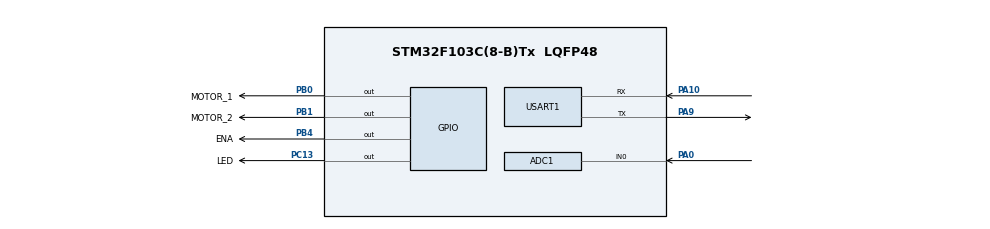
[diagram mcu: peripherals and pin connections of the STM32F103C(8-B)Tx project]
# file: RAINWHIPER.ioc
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ADC1.Channel-0\#ChannelRegularConversion=ADC_CHANNEL_0
ADC1.NbrOfConversionFlag=1
ADC1.Rank-0\#ChannelRegularConversion=1
ADC1.SamplingTime-0\#ChannelRegularConversion=ADC_SAMPLETIME_1CYCLE_5
ADC1.master=1
Mcu.Family=STM32F1
Mcu.Name=STM32F103C(8-B)Tx
Mcu.Package=LQFP48
NVIC.PriorityGroup=NVIC_PRIORITYGROUP_4
PA0-WKUP.Signal=ADCx_IN0
PA10.Mode=Asynchronous
PA10.Signal=USART1_RX
PA9.Mode=Asynchronous
PA9.Signal=USART1_TX
PB0.GPIO_Label=MOTOR_1
PB0.Signal=GPIO_Output
PB1.GPIO_Label=MOTOR_2
PB1.Signal=GPIO_Output
PB4.GPIO_Label=ENA
PB4.Signal=GPIO_Output
PC13-TAMPER-RTC.GPIO_Label=LED
PC13-TAMPER-RTC.Signal=GPIO_Output
ProjectManager.HeapSize=0x200
ProjectManager.StackSize=0x400
ProjectManager.TargetToolchain=STM32CubeIDE
RCC.APB1Freq_Value=8000000
RCC.APB2Freq_Value=8000000
SH.ADCx_IN0.0=ADC1_IN0,IN0
USART1.VirtualMode=VM_ASYNC
board=custom

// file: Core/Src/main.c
/* USER CODE BEGIN Header */
/**
  ******************************************************************************
  * @file           : main.c
  * @brief          : Main program body
  ******************************************************************************
  * @attention
  *
  * Copyright (c) 2025 STMicroelectronics.
  * All rights reserved.
  *
  * This software is licensed under terms that can be found in the LICENSE file
  * in the root directory of this software component.
  * If no LICENSE file comes with this software, it is provided AS-IS.
  *
  ******************************************************************************
  */
/* USER CODE END Header */
#include "main.h"

ADC_HandleTypeDef hadc1;

UART_HandleTypeDef huart1;

void SystemClock_Config(void);
static void MX_GPIO_Init(void);
static void MX_USART1_UART_Init(void);
static void MX_ADC1_Init(void);

int main(void)
{
  /* USER CODE BEGIN 1 */
	uint8_t var[] = "ADAPATIVE WINDSHIELD WIPER SYSTEM\r\n";
	uint8_t msg1[]="\nNO RAIN\r\n";
	uint8_t msg2[]="\nRAIN START\n";
	uint8_t msg3[]="\nRAIN INTENSITY IS LOW";
	uint8_t msg4[]="\nRAIN INTENSITY IS MODERATE";
	uint8_t msg5[]="\nRAIN INTENSITY IS HIGH";
	uint8_t msg1_sent=0;
	uint8_t msg2_sent=0;
	uint8_t msg3_sent=0;
	uint8_t msg4_sent=0;
	uint8_t msg5_sent=0;
	uint16_t ADC_Value=1000;
  /* USER CODE END 1 */

  /* MCU Configuration--------------------------------------------------------*/

  /* Reset of all peripherals, Initializes the Flash interface and the Systick. */
  HAL_Init();

  /* USER CODE BEGIN Init */
 void Move_forward(){
	 HAL_GPIO_WritePin(GPIOB,ENA_Pin,1);

	 	  HAL_GPIO_WritePin(GPIOB,MOTOR_1_Pin,1);
	 	  HAL_GPIO_WritePin(GPIOB,MOTOR_2_Pin,0);

 }
 void Move_backward(){
	 HAL_GPIO_WritePin(GPIOB,ENA_Pin,1);

	 	  HAL_GPIO_WritePin(GPIOB,MOTOR_1_Pin,0);
	 	  HAL_GPIO_WritePin(GPIOB,MOTOR_2_Pin,1);

 }

  /* USER CODE END Init */

  /* Configure the system clock */
  SystemClock_Config();

  /* Initialize all configured peripherals */
  MX_GPIO_Init();
  MX_USART1_UART_Init();
  MX_ADC1_Init();

  /* Infinite loop */
  /* USER CODE BEGIN WHILE */
  HAL_UART_Transmit(&huart1, var, strlen((char *)var), 100);
  while (1)
  {

    /* USER CODE END WHILE */

    /* USER CODE BEGIN 3 */
  if (ADC_Value < 10 && msg1_sent == 0) {
      HAL_UART_Transmit(&huart1, msg1, strlen((char *)msg1), 100);
      msg1_sent = 1;
      msg2_sent = msg3_sent = msg4_sent = msg5_sent = 0; // Reset other flags
  }
  else if (ADC_Value >= 10 && ADC_Value < 1000 && msg2_sent == 0) {
      HAL_UART_Transmit(&huart1, msg2, strlen((char *)msg2), 100);
      msg2_sent = 1;
      msg1_sent = msg3_sent = msg4_sent = msg5_sent = 0;

  }
  else if (ADC_Value >= 1000 && ADC_Value <= 2000 && msg3_sent == 0) {
      HAL_UART_Transmit(&huart1, msg3, strlen((char *)msg3), 100);
      msg3_sent = 1;
      msg1_sent = msg2_sent = msg4_sent = msg5_sent = 0;

  }
  else if (ADC_Value > 2000 && ADC_Value <= 3000 && msg4_sent == 0) {
      HAL_UART_Transmit(&huart1, msg4, strlen((char *)msg4), 100);
      msg4_sent = 1;
      msg1_sent = msg2_sent = msg3_sent = msg5_sent = 0;

  }
  else if (ADC_Value > 3000 && msg5_sent == 0) {
      HAL_UART_Transmit(&huart1, msg5, strlen((char *)msg5), 100);
      msg5_sent = 1;
      msg1_sent = msg2_sent = msg3_sent = msg4_sent = 0;

  }

  // LED should keep blinking infinitely
  HAL_GPIO_TogglePin(GPIOC, LED_Pin);

  // Adjust delay based on ADC value range
  if (ADC_Value < 10) {
      HAL_Delay(1000);  // Slow blink
  } else if (ADC_Value >= 10 && ADC_Value < 1000) {
            HAL_Delay(700);
            Move_forward();
            HAL_Delay(1000);
            Move_backward();
            HAL_Delay(1000);
  } else if (ADC_Value >= 1000 && ADC_Value <= 2000) {
               HAL_Delay(500);
               Move_forward();
               HAL_Delay(500);
               Move_backward();
               HAL_Delay(500);
  } else if (ADC_Value > 2000 && ADC_Value <= 3000) {
      HAL_Delay(400);
                Move_forward();
                HAL_Delay(100);
                Move_backward();
                HAL_Delay(100);
  } else {
      HAL_Delay(200);
               Move_forward();
               HAL_Delay(50);
               Move_backward();
               HAL_Delay(10);// Fast blink
  }
}
  /* USER CODE END 3 */
}

void SystemClock_Config(void)
{
  RCC_OscInitTypeDef RCC_OscInitStruct = {0};
  RCC_ClkInitTypeDef RCC_ClkInitStruct = {0};
  RCC_PeriphCLKInitTypeDef PeriphClkInit = {0};

  /** Initializes the RCC Oscillators according to the specified parameters
  * in the RCC_OscInitTypeDef structure.
  */
  RCC_OscInitStruct.OscillatorType = RCC_OSCILLATORTYPE_HSI;
  RCC_OscInitStruct.HSIState = RCC_HSI_ON;
  RCC_OscInitStruct.HSICalibrationValue = RCC_HSICALIBRATION_DEFAULT;
  RCC_OscInitStruct.PLL.PLLState = RCC_PLL_NONE;
  if (HAL_RCC_OscConfig(&RCC_OscInitStruct) != HAL_OK)
  {
    Error_Handler();
  }

  /** Initializes the CPU, AHB and APB buses clocks
  */
  RCC_ClkInitStruct.ClockType = RCC_CLOCKTYPE_HCLK|RCC_CLOCKTYPE_SYSCLK
                              |RCC_CLOCKTYPE_PCLK1|RCC_CLOCKTYPE_PCLK2;
  RCC_ClkInitStruct.SYSCLKSource = RCC_SYSCLKSOURCE_HSI;
  RCC_ClkInitStruct.AHBCLKDivider = RCC_SYSCLK_DIV1;
  RCC_ClkInitStruct.APB1CLKDivider = RCC_HCLK_DIV1;
  RCC_ClkInitStruct.APB2CLKDivider = RCC_HCLK_DIV1;

  if (HAL_RCC_ClockConfig(&RCC_ClkInitStruct, FLASH_LATENCY_0) != HAL_OK)
  {
    Error_Handler();
  }
  PeriphClkInit.PeriphClockSelection = RCC_PERIPHCLK_ADC;
  PeriphClkInit.AdcClockSelection = RCC_ADCPCLK2_DIV2;
  if (HAL_RCCEx_PeriphCLKConfig(&PeriphClkInit) != HAL_OK)
  {
    Error_Handler();
  }
}

static void MX_ADC1_Init(void)
{

  ADC_ChannelConfTypeDef sConfig = {0};

  /** Common config
  */
  hadc1.Instance = ADC1;
  hadc1.Init.ScanConvMode = ADC_SCAN_DISABLE;
  hadc1.Init.ContinuousConvMode = DISABLE;
  hadc1.Init.DiscontinuousConvMode = DISABLE;
  hadc1.Init.ExternalTrigConv = ADC_SOFTWARE_START;
  hadc1.Init.DataAlign = ADC_DATAALIGN_RIGHT;
  hadc1.Init.NbrOfConversion = 1;
  if (HAL_ADC_Init(&hadc1) != HAL_OK)
  {
    Error_Handler();
  }

  /** Configure Regular Channel
  */
  sConfig.Channel = ADC_CHANNEL_0;
  sConfig.Rank = ADC_REGULAR_RANK_1;
  sConfig.SamplingTime = ADC_SAMPLETIME_1CYCLE_5;
  if (HAL_ADC_ConfigChannel(&hadc1, &sConfig) != HAL_OK)
  {
    Error_Handler();
  }

}

static void MX_USART1_UART_Init(void)
{

  huart1.Instance = USART1;
  huart1.Init.BaudRate = 115200;
  huart1.Init.WordLength = UART_WORDLENGTH_8B;
  huart1.Init.StopBits = UART_STOPBITS_1;
  huart1.Init.Parity = UART_PARITY_NONE;
  huart1.Init.Mode = UART_MODE_TX_RX;
  huart1.Init.HwFlowCtl = UART_HWCONTROL_NONE;
  huart1.Init.OverSampling = UART_OVERSAMPLING_16;
  if (HAL_UART_Init(&huart1) != HAL_OK)
  {
    Error_Handler();
  }

}

static void MX_GPIO_Init(void)
{
  GPIO_InitTypeDef GPIO_InitStruct = {0};

  /* GPIO Ports Clock Enable */
  __HAL_RCC_GPIOC_CLK_ENABLE();
  __HAL_RCC_GPIOA_CLK_ENABLE();
  __HAL_RCC_GPIOB_CLK_ENABLE();

  /*Configure GPIO pin Output Level */
  HAL_GPIO_WritePin(LED_GPIO_Port, LED_Pin, GPIO_PIN_RESET);

  /*Configure GPIO pin Output Level */
  HAL_GPIO_WritePin(GPIOB, MOTOR_1_Pin|MOTOR_2_Pin|ENA_Pin, GPIO_PIN_RESET);

  /*Configure GPIO pin : LED_Pin */
  GPIO_InitStruct.Pin = LED_Pin;
  GPIO_InitStruct.Mode = GPIO_MODE_OUTPUT_PP;
  GPIO_InitStruct.Pull = GPIO_NOPULL;
  GPIO_InitStruct.Speed = GPIO_SPEED_FREQ_LOW;
  HAL_GPIO_Init(LED_GPIO_Port, &GPIO_InitStruct);

  /*Configure GPIO pins : MOTOR_1_Pin MOTOR_2_Pin ENA_Pin */
  GPIO_InitStruct.Pin = MOTOR_1_Pin|MOTOR_2_Pin|ENA_Pin;
  GPIO_InitStruct.Mode = GPIO_MODE_OUTPUT_PP;
  GPIO_InitStruct.Pull = GPIO_NOPULL;
  GPIO_InitStruct.Speed = GPIO_SPEED_FREQ_LOW;
  HAL_GPIO_Init(GPIOB, &GPIO_InitStruct);

}

void Error_Handler(void)
{
  __disable_irq();
  while (1)
  {
  }
}
